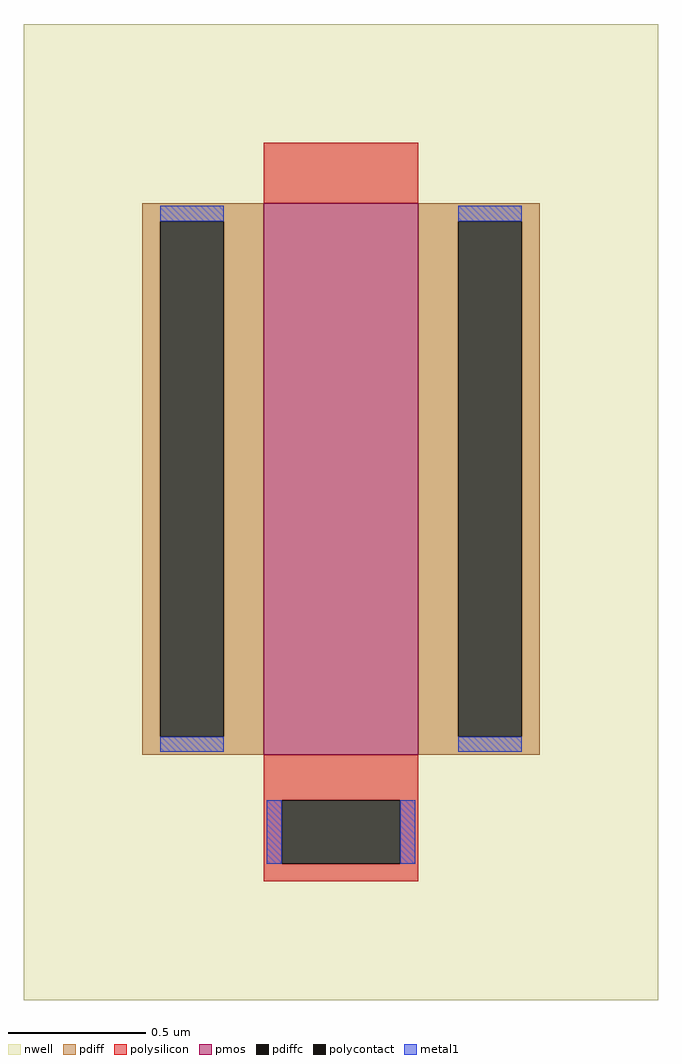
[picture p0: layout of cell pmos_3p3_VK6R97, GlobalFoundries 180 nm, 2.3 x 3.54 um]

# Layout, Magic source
magic
tech gf180mcuC
magscale 1 10
<< nwell >>
rect -230 -354 230 354
<< pmos >>
rect -56 -176 56 224
<< pdiff >>
rect -144 211 -56 224
rect -144 -163 -131 211
rect -85 -163 -56 211
rect -144 -176 -56 -163
rect 56 211 144 224
rect 56 -163 85 211
rect 131 -163 144 211
rect 56 -176 144 -163
<< pdiffc >>
rect -131 -163 -85 211
rect 85 -163 131 211
<< polysilicon >>
rect -56 224 56 268
rect -56 -209 56 -176
rect -56 -255 -43 -209
rect 43 -255 56 -209
rect -56 -268 56 -255
<< polycontact >>
rect -43 -255 43 -209
<< metal1 >>
rect -131 211 -85 222
rect -131 -174 -85 -163
rect 85 211 131 222
rect 85 -174 131 -163
rect -54 -255 -43 -209
rect 43 -255 54 -209
<< properties >>
string gencell pmos_3p3
string library gf180mcu
string parameters w 2 l 0.56 m 1 nf 1 diffcov 100 polycov 100 guard 0 glc 0 grc 0 gtc 0 gbc 0 tbcov 100 rlcov 100 topc 0 botc 1 poverlap 0 doverlap 1 lmin 0.28 wmin 0.22 full_metal 0 compatible {pmos_3p3 pmos_6p0}
<< end >>
